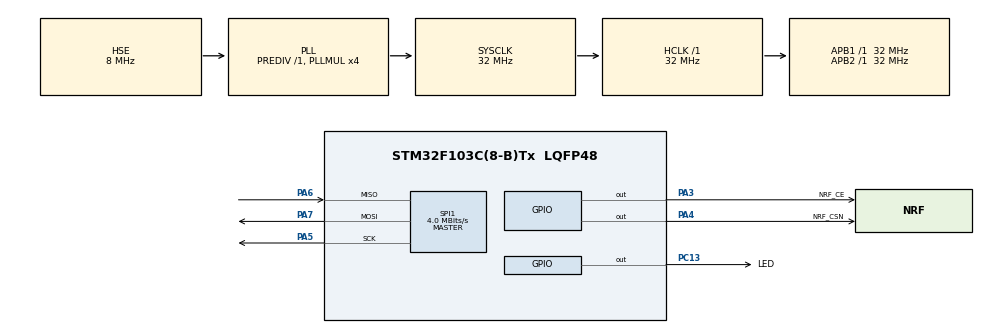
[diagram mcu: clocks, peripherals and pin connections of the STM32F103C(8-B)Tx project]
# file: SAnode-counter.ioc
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Mcu.Family=STM32F1
Mcu.Name=STM32F103C(8-B)Tx
Mcu.Package=LQFP48
NVIC.PriorityGroup=NVIC_PRIORITYGROUP_4
PA13.Mode=Serial_Wire
PA13.Signal=SYS_JTMS-SWDIO
PA14.Mode=Serial_Wire
PA14.Signal=SYS_JTCK-SWCLK
PA3.GPIO_Label=NRF_CE
PA3.Signal=GPIO_Output
PA4.GPIO_Label=NRF_CSN
PA4.Signal=GPIO_Output
PA5.Mode=Full_Duplex_Master
PA5.Signal=SPI1_SCK
PA6.Mode=Full_Duplex_Master
PA6.Signal=SPI1_MISO
PA7.Mode=Full_Duplex_Master
PA7.Signal=SPI1_MOSI
PC13-TAMPER-RTC.GPIO_Label=LED
PC13-TAMPER-RTC.Signal=GPIO_Output
PD0-OSC_IN.Mode=HSE-External-Oscillator
PD0-OSC_IN.Signal=RCC_OSC_IN
PD1-OSC_OUT.Mode=HSE-External-Oscillator
PD1-OSC_OUT.Signal=RCC_OSC_OUT
ProjectManager.HeapSize=0x200
ProjectManager.StackSize=0x400
ProjectManager.TargetToolchain=STM32CubeIDE
RCC.AHBFreq_Value=32000000
RCC.APB1Freq_Value=32000000
RCC.APB1TimFreq_Value=32000000
RCC.APB2Freq_Value=32000000
RCC.APB2TimFreq_Value=32000000
RCC.HCLKFreq_Value=32000000
RCC.PLLMUL=RCC_PLL_MUL4
RCC.PLLSourceVirtual=RCC_PLLSOURCE_HSE
RCC.SYSCLKFreq_VALUE=32000000
RCC.SYSCLKSource=RCC_SYSCLKSOURCE_PLLCLK
RCC.USBFreq_Value=32000000
SPI1.BaudRatePrescaler=SPI_BAUDRATEPRESCALER_8
SPI1.CalculateBaudRate=4.0 MBits/s
SPI1.Direction=SPI_DIRECTION_2LINES
SPI1.Mode=SPI_MODE_MASTER
SPI1.VirtualType=VM_MASTER
TIM1.Prescaler=31
VP_TIM1_VS_ClockSourceINT.Mode=Internal
board=custom

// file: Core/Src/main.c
/* USER CODE BEGIN Header */
/**
  ******************************************************************************
  * @file           : main.c
  * @brief          : Main program body
  ******************************************************************************
  * @attention
  *
  * Copyright (c) 2024 STMicroelectronics.
  * All rights reserved.
  *
  * This software is licensed under terms that can be found in the LICENSE file
  * in the root directory of this software component.
  * If no LICENSE file comes with this software, it is provided AS-IS.
  *
  *
  *
  *
  * Include Common-C files
  * Right-click your STM32 project → Properties, Go to C/C++ General → Paths and Symbols → Includes
  * Under Languages, select GNU C Click Add… - /home/roy/server-data/git/Common-C/Inc*
  *
  *
  *
  *
  ******************************************************************************
  */
/* USER CODE END Header */
#include "main.h"

/* USER CODE BEGIN Includes */
#include "nRF24L01.h"
#include "stdio.h"

/* USER CODE END Includes */

/* USER CODE BEGIN PD */
#define RF24payloadlen  10
/* USER CODE END PD */

SPI_HandleTypeDef hspi1;

TIM_HandleTypeDef htim1;

/* USER CODE BEGIN PV */
uint8_t NRF_state=NRF_OFF;
/* USER CODE END PV */

void SystemClock_Config(void);
static void MX_GPIO_Init(void);
static void MX_SPI1_Init(void);
static void MX_TIM1_Init(void);

int main(void)
{

  /* MCU Configuration--------------------------------------------------------*/

  /* Reset of all peripherals, Initializes the Flash interface and the Systick. */
  HAL_Init();

  /* Configure the system clock */
  SystemClock_Config();

  /* Initialize all configured peripherals */
  MX_GPIO_Init();
  MX_SPI1_Init();
  MX_TIM1_Init();
  /* USER CODE BEGIN 2 */

  HAL_TIM_Base_Start(&htim1);			//start/enable TMR1 for Delay_us function
  	  	  	  	  	  	  	  	  	  //Timer1 needs to be at 1us (32MHz, prescaler=31+1)
  HAL_Delay(300);						//Wait till everything has boot up 300ms to 1000ms

  uint8_t 	counter=0,readback; // init value
  char 		string[RF24payloadlen+1];
  uint8_t	RF24payload[RF24payloadlen];

  // Init NRF with default settings and address payload length P0=16, others are 0
  // After init, the module is POWER UP in listing mode
  if(NRF24L01_Init(RF24payloadlen,NRF24L01_VAL_AUTO_ACK_OFF)!=0)
  {	//error in Init of NRF
	  while(1)
	  {	HAL_GPIO_TogglePin(LED_GPIO_Port, LED_Pin);						//fast blinking if error during init
		HAL_Delay(100);
	  }
  }

  NRF24L01_DISABLE;					// Stop goto to Standby-I state
  HAL_Delay(300);					//Wait 300ms
  NRF24L01_TXmode(NRF24L01_CONFIG_DEFAULT_VAL);							//change the device to a TX to send back from the other 24L01
  NRF24L01_IRQ_ClearAll();												//clear interrupts again
  NRF24L01_ENABLE;														//CE / enable

  readback=NRF24L01_ReadConfig();

  /* USER CODE END 2 */

  /* Infinite loop */
  /* USER CODE BEGIN WHILE */
  while (1)
  {	  sprintf(string,"Hello: %3d",counter++);
	  for(uint8_t i=0;i<RF24payloadlen;i++)
		  RF24payload[i]=(uint8_t) string[i];

	  NRF24L01_WriteTX_Payload(RF24payload, RF24payloadlen, NRF24L01_VAL_TRANSMITDIRECT);

	  readback=NRF24L01_ReadConfig();
	  HAL_GPIO_TogglePin(LED_GPIO_Port, LED_Pin);
	  HAL_Delay(1000);
    /* USER CODE END WHILE */

  }
}

void SystemClock_Config(void)
{
  RCC_OscInitTypeDef RCC_OscInitStruct = {0};
  RCC_ClkInitTypeDef RCC_ClkInitStruct = {0};

  /** Initializes the RCC Oscillators according to the specified parameters
  * in the RCC_OscInitTypeDef structure.
  */
  RCC_OscInitStruct.OscillatorType = RCC_OSCILLATORTYPE_HSE;
  RCC_OscInitStruct.HSEState = RCC_HSE_ON;
  RCC_OscInitStruct.HSEPredivValue = RCC_HSE_PREDIV_DIV1;
  RCC_OscInitStruct.HSIState = RCC_HSI_ON;
  RCC_OscInitStruct.PLL.PLLState = RCC_PLL_ON;
  RCC_OscInitStruct.PLL.PLLSource = RCC_PLLSOURCE_HSE;
  RCC_OscInitStruct.PLL.PLLMUL = RCC_PLL_MUL4;
  if (HAL_RCC_OscConfig(&RCC_OscInitStruct) != HAL_OK)
  {
    Error_Handler();
  }

  /** Initializes the CPU, AHB and APB buses clocks
  */
  RCC_ClkInitStruct.ClockType = RCC_CLOCKTYPE_HCLK|RCC_CLOCKTYPE_SYSCLK
                              |RCC_CLOCKTYPE_PCLK1|RCC_CLOCKTYPE_PCLK2;
  RCC_ClkInitStruct.SYSCLKSource = RCC_SYSCLKSOURCE_PLLCLK;
  RCC_ClkInitStruct.AHBCLKDivider = RCC_SYSCLK_DIV1;
  RCC_ClkInitStruct.APB1CLKDivider = RCC_HCLK_DIV1;
  RCC_ClkInitStruct.APB2CLKDivider = RCC_HCLK_DIV1;

  if (HAL_RCC_ClockConfig(&RCC_ClkInitStruct, FLASH_LATENCY_1) != HAL_OK)
  {
    Error_Handler();
  }
}

static void MX_SPI1_Init(void)
{

  /* SPI1 parameter configuration*/
  hspi1.Instance = SPI1;
  hspi1.Init.Mode = SPI_MODE_MASTER;
  hspi1.Init.Direction = SPI_DIRECTION_2LINES;
  hspi1.Init.DataSize = SPI_DATASIZE_8BIT;
  hspi1.Init.CLKPolarity = SPI_POLARITY_LOW;
  hspi1.Init.CLKPhase = SPI_PHASE_1EDGE;
  hspi1.Init.NSS = SPI_NSS_SOFT;
  hspi1.Init.BaudRatePrescaler = SPI_BAUDRATEPRESCALER_8;
  hspi1.Init.FirstBit = SPI_FIRSTBIT_MSB;
  hspi1.Init.TIMode = SPI_TIMODE_DISABLE;
  hspi1.Init.CRCCalculation = SPI_CRCCALCULATION_DISABLE;
  hspi1.Init.CRCPolynomial = 10;
  if (HAL_SPI_Init(&hspi1) != HAL_OK)
  {
    Error_Handler();
  }

}

static void MX_TIM1_Init(void)
{

  TIM_ClockConfigTypeDef sClockSourceConfig = {0};
  TIM_MasterConfigTypeDef sMasterConfig = {0};

  htim1.Instance = TIM1;
  htim1.Init.Prescaler = 31;
  htim1.Init.CounterMode = TIM_COUNTERMODE_UP;
  htim1.Init.Period = 65535;
  htim1.Init.ClockDivision = TIM_CLOCKDIVISION_DIV1;
  htim1.Init.RepetitionCounter = 0;
  htim1.Init.AutoReloadPreload = TIM_AUTORELOAD_PRELOAD_DISABLE;
  if (HAL_TIM_Base_Init(&htim1) != HAL_OK)
  {
    Error_Handler();
  }
  sClockSourceConfig.ClockSource = TIM_CLOCKSOURCE_INTERNAL;
  if (HAL_TIM_ConfigClockSource(&htim1, &sClockSourceConfig) != HAL_OK)
  {
    Error_Handler();
  }
  sMasterConfig.MasterOutputTrigger = TIM_TRGO_RESET;
  sMasterConfig.MasterSlaveMode = TIM_MASTERSLAVEMODE_DISABLE;
  if (HAL_TIMEx_MasterConfigSynchronization(&htim1, &sMasterConfig) != HAL_OK)
  {
    Error_Handler();
  }

}

static void MX_GPIO_Init(void)
{
  GPIO_InitTypeDef GPIO_InitStruct = {0};

  /* GPIO Ports Clock Enable */
  __HAL_RCC_GPIOC_CLK_ENABLE();
  __HAL_RCC_GPIOD_CLK_ENABLE();
  __HAL_RCC_GPIOA_CLK_ENABLE();

  /*Configure GPIO pin Output Level */
  HAL_GPIO_WritePin(LED_GPIO_Port, LED_Pin, GPIO_PIN_RESET);

  /*Configure GPIO pin Output Level */
  HAL_GPIO_WritePin(GPIOA, NRF_CE_Pin|NRF_CSN_Pin, GPIO_PIN_RESET);

  /*Configure GPIO pin : LED_Pin */
  GPIO_InitStruct.Pin = LED_Pin;
  GPIO_InitStruct.Mode = GPIO_MODE_OUTPUT_PP;
  GPIO_InitStruct.Pull = GPIO_NOPULL;
  GPIO_InitStruct.Speed = GPIO_SPEED_FREQ_LOW;
  HAL_GPIO_Init(LED_GPIO_Port, &GPIO_InitStruct);

  /*Configure GPIO pins : NRF_CE_Pin NRF_CSN_Pin */
  GPIO_InitStruct.Pin = NRF_CE_Pin|NRF_CSN_Pin;
  GPIO_InitStruct.Mode = GPIO_MODE_OUTPUT_PP;
  GPIO_InitStruct.Pull = GPIO_NOPULL;
  GPIO_InitStruct.Speed = GPIO_SPEED_FREQ_LOW;
  HAL_GPIO_Init(GPIOA, &GPIO_InitStruct);

}

/* USER CODE BEGIN 4 */

//-----------------------------------------------------------------
//Microsecond delay
void delay_us (uint16_t us)
{	__HAL_TIM_SET_COUNTER(&htim1,0);  				// set the counter value a 0
	while (__HAL_TIM_GET_COUNTER(&htim1) < us);  	// wait for the counter to reach the us input in the parameter
}

/* USER CODE END 4 */

void Error_Handler(void)
{
  __disable_irq();
  while (1)
  {
  }
}
